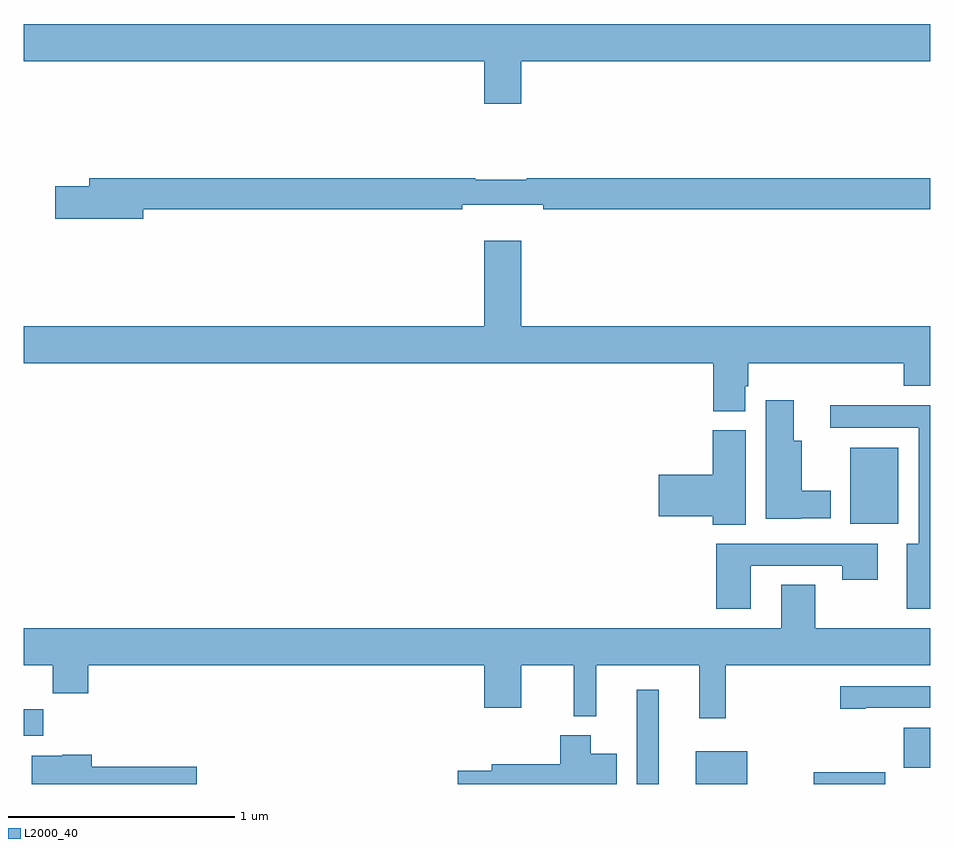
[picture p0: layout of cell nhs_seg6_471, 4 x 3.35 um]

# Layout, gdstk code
import gdstk
lib = gdstk.Library(unit=1e-6, precision=1e-09)
def R(c, l, rs):  # rectangles x0, y0, x1, y1
    for r in rs: c.add(gdstk.rectangle(r[:2], r[2:], *l))
def P(c, l, *ps):  # polygons
    for p in ps: c.add(gdstk.Polygon(p, *l))
L2000_40 = (2000, 40)

nhs_seg6_471 = lib.new_cell('nhs_seg6_471')
R(nhs_seg6_471, L2000_40, [(141.705,925.5,141.802,925.915), (141.965,925.5,142.192,925.645), (142.486,925.5,142.801,925.552), (142.883,925.571,143,925.747), (139,925.712,139.088,925.83), (142.646,926.648,142.858,926.983)])
P(nhs_seg6_471, L2000_40, [(141.196,928.688),(143,928.688),(143,928.852),(139,928.852),(139,928.688),(141.032,928.688),(141.032,928.5),(141.196,928.5)],
  [(139.528,928.036),(140.936,928.036),(140.936,928.055),(141.292,928.055),(141.292,928.036),(143,928.036),(143,928.172),(141.219,928.172),(141.219,928.165),(140.993,928.165),(140.993,928.172),(139.289,928.172),(139.289,928.136),(139.14,928.136),(139.14,927.994),(139.528,927.994)],
  [(142.183,927.255),(142.196,927.255),(142.196,927.356),(142.883,927.356),(142.883,927.257),(143,927.257),(143,927.52),(141.196,927.52),(141.196,927.895),(141.032,927.895),(141.032,927.52),(139,927.52),(139,927.356),(142.043,927.356),(142.043,927.145),(142.183,927.145)],
  [(142.428,926.672),(142.561,926.672),(142.561,926.794),(142.432,926.794),(142.432,927.013),(142.396,927.013),(142.396,927.193),(142.274,927.193),(142.274,926.669),(142.428,926.669)],
  [(143,927.17),(142.557,927.17),(142.557,927.072),(142.949,927.072),(142.949,926.56),(142.895,926.56),(142.895,926.274),(143,926.274)],
  [(142.186,927.06),(142.04,927.06),(142.04,926.864),(141.801,926.864),(141.801,926.681),(142.04,926.681),(142.04,926.644),(142.186,926.644)],
  [(142.207,926.463),(142.612,926.463),(142.612,926.4),(142.768,926.4),(142.768,926.559),(142.055,926.559),(142.055,926.274),(142.207,926.274)],
  [(142.097,926.024),(143,926.024),(143,926.188),(142.491,926.188),(142.491,926.378),(142.343,926.378),(142.343,926.188),(139,926.188),(139,926.024),(139.129,926.024),(139.129,925.9),(139.286,925.9),(139.286,926.024),(141.032,926.024),(141.032,925.836),(141.196,925.836),(141.196,926.024),(141.427,926.024),(141.427,925.799),(141.527,925.799),(141.527,926.024),(141.98,926.024),(141.98,925.791),(142.097,925.791)],
  [(142.714,925.836),(143,925.836),(143,925.932),(142.602,925.932),(142.602,925.831),(142.714,925.831)],
  [(141.616,925.633),(141.502,925.633),(141.502,925.714),(141.368,925.714),(141.368,925.588),(141.065,925.588),(141.065,925.558),(140.916,925.558),(140.916,925.5),(141.616,925.5)],
  [(139.763,925.576),(139.301,925.576),(139.301,925.63),(139.17,925.63),(139.17,925.624),(139.037,925.624),(139.037,925.5),(139.763,925.5)])

lib.write_gds('nhs_seg6_471.gds')
